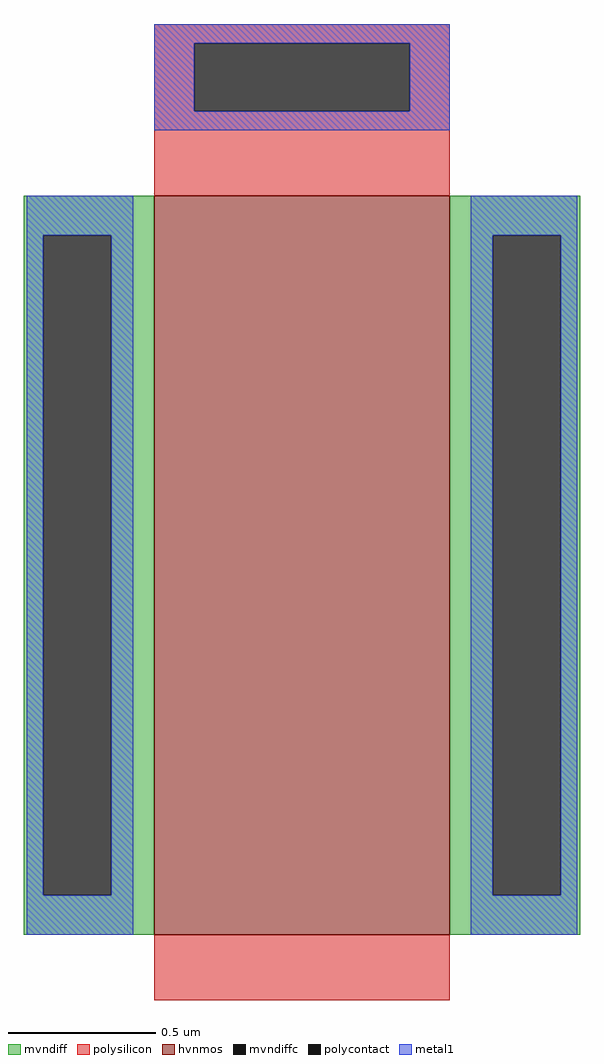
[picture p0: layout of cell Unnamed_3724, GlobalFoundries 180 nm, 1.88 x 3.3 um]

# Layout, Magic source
magic
tech gf180mcuD
magscale 1 10
<< hvnmos >>
rect 14 0 214 500
<< mvndiff >>
rect -74 473 14 500
rect -74 27 -61 473
rect -15 27 14 473
rect -74 0 14 27
rect 214 473 302 500
rect 214 27 243 473
rect 289 27 302 473
rect 214 0 302 27
<< mvndiffc >>
rect -61 27 -15 473
rect 243 27 289 473
<< polysilicon >>
rect 14 603 214 616
rect 14 557 41 603
rect 187 557 214 603
rect 14 500 214 557
rect 14 -44 214 0
<< polycontact >>
rect 41 557 187 603
<< metal1 >>
rect 14 603 214 616
rect 14 557 41 603
rect 187 557 214 603
rect 14 544 214 557
rect -72 473 0 500
rect -72 27 -61 473
rect -15 27 0 473
rect -72 0 0 27
rect 228 473 300 500
rect 228 27 243 473
rect 289 27 300 473
rect 228 0 300 27
<< end >>
